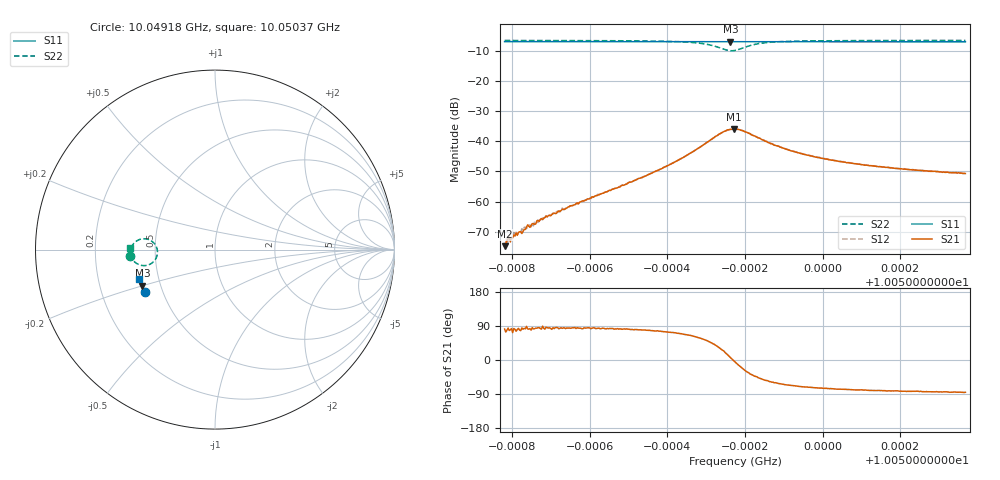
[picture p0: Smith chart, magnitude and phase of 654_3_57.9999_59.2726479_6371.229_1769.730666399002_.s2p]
#  HZ  S  RI  R  50.00
! Rohde & Schwarz Vector Network Analyzer
! Rohde-Schwarz,ZNB20-2Port,1311601062101988,3.16
! Created: UTC 3/21/2024, 1:19:41 AM
! freq[Hz]  re:S11  im:S11  re:S21  im:S21  re:S12  im:S12  re:S22  im:S22
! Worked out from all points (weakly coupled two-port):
!   401 points, 10.04918 GHz to 10.05037 GHz, reference 50 ohm
!   highest |S21| = -35.88 dB at 10.04977 GHz (marker M1); lowest = -74.8 dB at 10.04918 GHz (marker M2)
!   lowest |S11| = -6.9 dB at 10.04976 GHz (marker M3), VSWR 2.65, Z = 19.8 - j10 ohm
!   |S11| at or under -10 dB: nowhere
!   |S22| runs from -9.9 to -6.5 dB; largest |S21 - S12| = 0.0014
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1.004918e10  -0.3885 -0.2363  2.61e-05 0.00018  4.63e-05 0.000196  -0.4739 -0.0355
1.0049195e10  -0.3889 -0.2353  3.8e-05 0.00021  1.89e-05 0.000242  -0.4739 -0.0341
1.0049204e10  -0.3891 -0.2348  3.4e-05 0.000275  4.08e-05 0.000305  -0.4739 -0.0334
1.0049227e10  -0.3901 -0.2333  4.83e-05 0.000316  1.23e-05 0.000333  -0.4737 -0.0311
1.0049236e10  -0.3903 -0.2328  8.92e-06 0.000371  3.48e-05 0.000355  -0.4737 -0.0302
1.0049269e10  -0.3914 -0.2308  3.87e-05 0.000466  2.64e-05 0.000477  -0.4737 -0.027
1.0049323e10  -0.3931 -0.2277  7.7e-05 0.000674  3.34e-05 0.000705  -0.4735 -0.0214
1.0049379e10  -0.3948 -0.2245  0.000129 0.001  2.35e-05 0.000987  -0.4729 -0.015
1.0049578e10  -0.4009 -0.2125  0.000825 0.00326  0.000611 0.00333  -0.4626 0.0191
1.0049649e10  -0.4028 -0.2082  0.00232 0.00537  0.002 0.0055  -0.4451 0.0418
1.0049715e10  -0.4041 -0.2039  0.00785 0.00769  0.00728 0.00813  -0.3887 0.0604
1.0049744e10  -0.4042 -0.2023  0.0131 0.00598  0.0129 0.00656  -0.34 0.0363
1.0049762e10  -0.4043 -0.2015  0.0157 0.00178  0.0155 0.00296  -0.3213 -0.00265
1.0049771e10  -0.4046 -0.2012  0.0161 -0.000609  0.0161 0.000722  -0.3214 -0.0258
1.0049774e10  -0.4046 -0.2012  0.0159 -0.00138  0.016 -5.93e-05  -0.3228 -0.0333
1.0049807e10  -0.406 -0.1999  0.0117 -0.00745  0.0124 -0.00654  -0.3705 -0.0851
1.0049848e10  -0.4074 -0.1977  0.00635 -0.00827  0.00702 -0.00795  -0.4249 -0.0835
1.0049908e10  -0.4095 -0.1941  0.00302 -0.00671  0.00347 -0.00655  -0.4553 -0.0602
1.0049973e10  -0.4113 -0.19  0.0017 -0.00541  0.00203 -0.00533  -0.4666 -0.0413
1.0050065e10  -0.4139 -0.1844  0.000956 -0.00432  0.00122 -0.00429  -0.4722 -0.0234
1.0050172e10  -0.4167 -0.178  0.000558 -0.00361  0.000748 -0.00361  -0.4745 -0.00893
1.0050368e10  -0.4211 -0.1658  0.000245 -0.00291  0.000408 -0.00291  -0.4756 0.011
